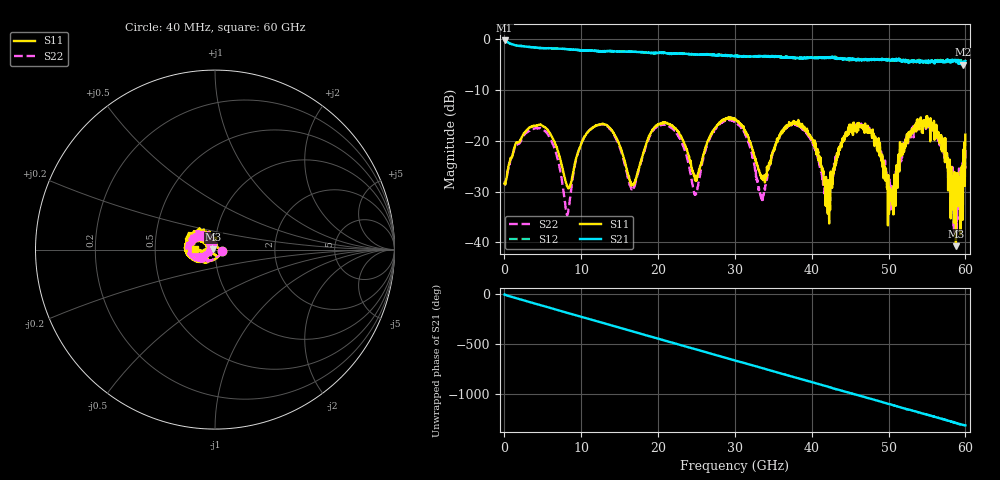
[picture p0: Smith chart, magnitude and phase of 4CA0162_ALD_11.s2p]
! File created by 'SoftPlot +Plus+ Measurement Management Software'
! SoftPlot +Plus+ Measurement Management Software
! Start 40.000000 MHz  Stop 60.000000 GHz  Points 1601
# MHZ S RI R 50
! S-Parameter data, F S11 S21 S12 S22
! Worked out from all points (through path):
!   1601 points, 40 MHz to 60 GHz, reference 50 ohm
!   highest |S21| = -0.36 dB at 40 MHz (marker M1); lowest = -5.1 dB at 59.66 GHz (marker M2)
!   group delay of S21, straight-line fit = 60.7 ps
!   lowest |S11| = -40.7 dB at 58.76 GHz (marker M3), VSWR 1.02, Z = 49.1 + j0.135 ohm
!   |S11| at or under -10 dB: start of sweep to end of sweep
!   |S22| runs from -38.4 to -15.9 dB; largest |S21 - S12| = 0.067
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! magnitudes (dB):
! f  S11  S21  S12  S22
! 40 MHz  -28.5  -0.4  -0.4  -28.0
! 4.799 GHz  -16.9  -1.8  -1.8  -17.7
! 8.21 GHz  -28.9  -2.1  -2.1  -34.6
! 10.05 GHz  -20.5  -2.3  -2.3  -20.5
! 13.49 GHz  -17.2  -2.5  -2.4  -17.3
! 16.72 GHz  -28.8  -2.6  -2.6  -29.6
! 20.05 GHz  -16.8  -2.8  -2.7  -17.1
! 24.85 GHz  -27.4  -3.1  -3.1  -30.6
! 27.1 GHz  -18.4  -3.2  -3.2  -18.7
! 30.02 GHz  -15.9  -3.4  -3.3  -16.3
! 33.47 GHz  -27.4  -3.4  -3.5  -31.4
! 36.43 GHz  -17.5  -3.7  -3.6  -17.9
! 40.03 GHz  -19.6  -3.8  -3.7  -20.2
! 42.09 GHz  -34.3  -3.7  -3.6  -31.8
! 44.19 GHz  -19.2  -3.9  -4.0  -19.6
! 47.22 GHz  -17.5  -4.2  -4.3  -17.5
! 50.03 GHz  -34.4  -4.2  -4.1  -29.8
! 54.9 GHz  -17.5  -4.6  -4.4  -17.5
! 57.15 GHz  -19.9  -4.4  -4.6  -21.7
! 58.76 GHz  -40.7  -4.5  -4.1  -38.4
! 59.66 GHz  -35.6  -5.1  -4.7  -23.8
! 60 GHz  -18.8  -4.4  -4.9  -21.6
